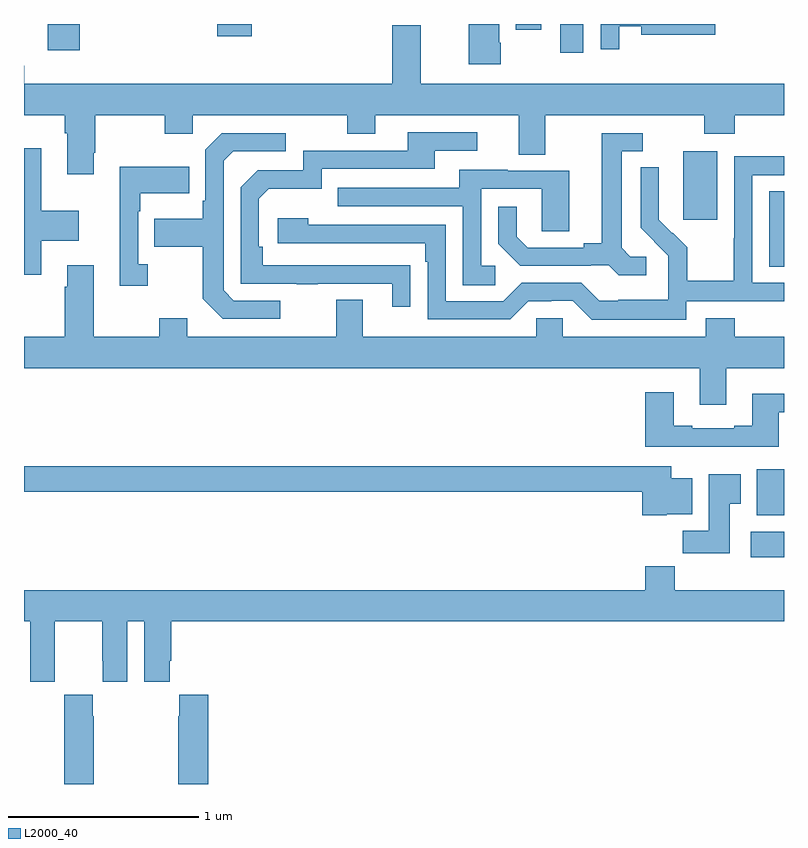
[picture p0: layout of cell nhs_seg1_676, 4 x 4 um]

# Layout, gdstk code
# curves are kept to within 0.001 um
import gdstk
lib = gdstk.Library(unit=1e-6, precision=1e-09)
def R(c, l, rs):  # rectangles x0, y0, x1, y1
    for r in rs: c.add(gdstk.rectangle(r[:2], r[2:], *l))
def P(c, l, *ps):  # polygons
    for p in ps: c.add(gdstk.Polygon(p, *l))
L2000_40 = (2000, 40)

nhs_seg1_676 = lib.new_cell('nhs_seg1_676')
R(nhs_seg1_676, L2000_40, [(150.825,561.392,151,561.526), (150.857,561.614,151,561.856), (150.923,562.921,151,563.318), (150.47,563.169,150.649,563.53), (149.822,564.048,149.944,564.199), (147.125,564.06,147.293,564.199), (148.016,564.135,148.199,564.199), (149.588,564.168,149.722,564.199)])
P(nhs_seg1_676, L2000_40, [(150.132,564.186),(150.248,564.186),(150.248,564.143),(150.637,564.143),(150.637,564.199),(150.036,564.199),(150.036,564.066),(150.132,564.066)],
  [(149.508,564.1),(149.5,564.1),(149.5,564.199),(149.342,564.199),(149.342,563.988),(149.508,563.988)],
  [(147.367,563.521),(147.375,563.521),(147.375,563.72),(147.742,563.72),(147.742,563.621),(147.888,563.621),(147.888,563.72),(148.702,563.72),(148.702,563.621),(148.849,563.621),(148.849,563.72),(149.603,563.72),(149.603,563.512),(149.743,563.512),(149.743,563.72),(150.58,563.72),(150.58,563.621),(150.74,563.621),(150.74,563.72),(151,563.72),(151,563.884),(149.089,563.884),(149.089,564.193),(148.937,564.193),(148.937,563.884),(147.002,563.884),(147.002,563.98),(147,563.98),(147,563.72),(147.215,563.72),(147.215,563.624),(147.227,563.624),(147.227,563.409),(147.367,563.409)],
  [(149.033,562.928),(148.256,562.929),(148.256,563.026),(148.236,563.026),(148.236,563.28),(148.289,563.333),(148.566,563.333),(148.566,563.436),(149.161,563.436),(149.161,563.532),(149.386,563.532),(149.386,563.628),(149.021,563.628),(149.021,563.532),(148.47,563.532),(148.47,563.43),(148.23,563.43),(148.14,563.34),(148.14,562.833),(148.435,562.833),(148.435,562.828),(148.547,562.828),(148.547,562.833),(148.937,562.833),(148.937,562.71),(149.033,562.71)],
  [(148.348,562.743),(148.104,562.743),(148.05,562.797),(148.05,563.478),(148.101,563.529),(148.378,563.529),(148.378,563.625),(148.041,563.625),(147.954,563.538),(147.954,563.269),(147.942,563.269),(147.942,563.173),(147.685,563.173),(147.685,563.026),(147.942,563.026),(147.942,562.753),(148.047,562.647),(148.348,562.647)],
  [(150.274,562.974),(150.192,562.974),(150.145,563.021),(150.145,563.529),(150.256,563.529),(150.256,563.625),(150.041,563.625),(150.041,563.045),(149.945,563.045),(149.945,563.022),(149.65,563.022),(149.593,563.079),(149.593,563.236),(149.496,563.236),(149.496,563.042),(149.612,562.926),(149.984,562.926),(149.984,562.929),(150.078,562.929),(150.13,562.877),(150.274,562.877)],
  [(147.091,563.057),(147.289,563.057),(147.289,563.215),(147.091,563.215),(147.091,563.545),(147,563.545),(147,562.878),(147.091,562.878)],
  [(150.486,562.74),(151,562.74),(151,562.836),(150.834,562.836),(150.834,563.403),(151,563.403),(151,563.502),(150.738,563.502),(150.738,563.072),(150.736,563.072),(150.736,562.849),(150.491,562.849),(150.491,563.023),(150.414,563.1),(150.411,563.097),(150.341,563.168),(150.342,563.444),(150.246,563.444),(150.246,563.126),(150.392,562.978),(150.392,562.881),(150.39,562.881),(150.39,562.747),(150.127,562.747),(150.127,562.743),(150.027,562.743),(149.934,562.836),(149.619,562.836),(149.523,562.74),(149.22,562.74),(149.22,563.142),(148.496,563.142),(148.496,563.176),(148.335,563.176),(148.335,563.046),(149.111,563.046),(149.111,562.949),(149.124,562.949),(149.124,562.644),(149.559,562.644),(149.655,562.74),(149.774,562.74),(149.774,562.743),(149.889,562.743),(149.989,562.643),(150.486,562.643)],
  [(147.652,562.934),(147.6,562.934),(147.6,563.213),(147.613,563.213),(147.613,563.309),(147.869,563.309),(147.869,563.449),(147.503,563.449),(147.503,562.821),(147.652,562.821)],
  [(149.479,562.926),(149.406,562.926),(149.406,563.331),(149.724,563.331),(149.724,563.107),(149.869,563.107),(149.869,563.427),(149.545,563.427),(149.545,563.431),(149.291,563.431),(149.291,563.337),(148.651,563.337),(148.651,563.241),(149.31,563.241),(149.31,562.825),(149.479,562.825)],
  [(150.697,562.388),(151,562.388),(151,562.552),(150.74,562.552),(150.74,562.651),(150.587,562.651),(150.587,562.552),(149.835,562.552),(149.835,562.65),(149.697,562.65),(149.697,562.552),(148.783,562.552),(148.783,562.747),(148.643,562.747),(148.643,562.552),(147.859,562.552),(147.859,562.651),(147.712,562.651),(147.712,562.552),(147.367,562.552),(147.367,562.93),(147.227,562.93),(147.227,562.817),(147.215,562.817),(147.215,562.552),(147,562.552),(147,562.388),(150.557,562.388),(150.557,562.194),(150.697,562.194)],
  [(150.973,562.155),(151,562.155),(151,562.252),(150.833,562.252),(150.833,562.084),(150.737,562.084),(150.737,562.071),(150.517,562.071),(150.517,562.084),(150.421,562.084),(150.421,562.261),(150.269,562.261),(150.269,561.974),(150.973,561.974)],
  [(150.384,561.62),(150.517,561.62),(150.517,561.808),(150.406,561.808),(150.406,561.872),(147,561.872),(147,561.736),(150.254,561.736),(150.254,561.614),(150.384,561.614)],
  [(150.715,561.673),(150.772,561.673),(150.772,561.829),(150.605,561.829),(150.605,561.532),(150.466,561.532),(150.466,561.414),(150.715,561.414)],
  [(147.162,560.848),(147.163,560.848),(147.163,561.056),(147.413,561.056),(147.413,560.848),(147.414,560.848),(147.414,560.736),(147.544,560.736),(147.544,561.056),(147.632,561.056),(147.632,560.736),(147.766,560.736),(147.766,560.848),(147.776,560.848),(147.776,561.056),(151,561.056),(151,561.22),(150.425,561.22),(150.425,561.344),(150.269,561.344),(150.269,561.22),(147,561.22),(147,561.056),(147.032,561.056),(147.032,560.736),(147.162,560.736)],
  [(147.971,560.668),(147.817,560.668),(147.817,560.555),(147.811,560.555),(147.811,560.199),(147.971,560.199)],
  [(147.366,560.555),(147.363,560.555),(147.363,560.668),(147.213,560.668),(147.213,560.555),(147.211,560.555),(147.211,560.199),(147.366,560.199)])

lib.write_gds('nhs_seg1_676.gds')
